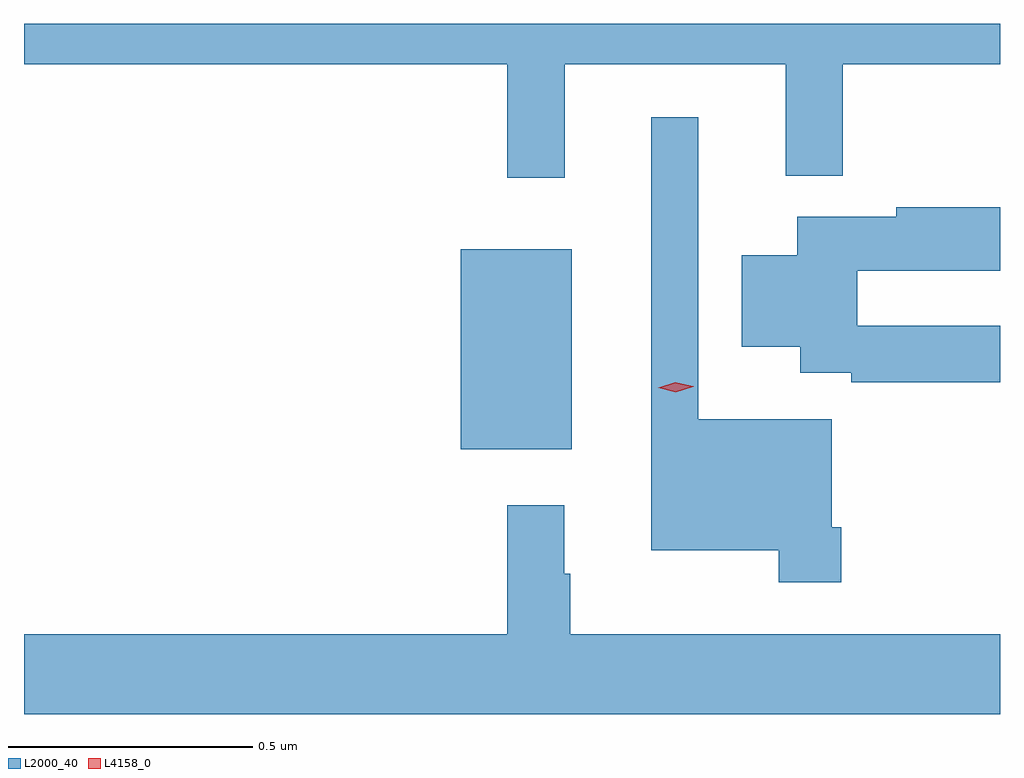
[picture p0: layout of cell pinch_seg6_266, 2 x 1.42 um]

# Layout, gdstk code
import gdstk
lib = gdstk.Library(unit=1e-6, precision=1e-09)
def R(c, l, rs):  # rectangles x0, y0, x1, y1
    for r in rs: c.add(gdstk.rectangle(r[:2], r[2:], *l))
def P(c, l, *ps):  # polygons
    for p in ps: c.add(gdstk.Polygon(p, *l))
L2000_40 = (2000, 40)
L4158_0 = (4158, 0)

pinch_seg6_266 = lib.new_cell('pinch_seg6_266')
R(pinch_seg6_266, L2000_40, [(1090.196,919.907,1090.423,920.317)])
P(pinch_seg6_266, L2000_40, [(1089.301,920.696),(1090.291,920.696),(1090.291,920.463),(1090.409,920.463),(1090.409,920.696),(1090.862,920.696),(1090.862,920.468),(1090.979,920.468),(1090.979,920.696),(1091.301,920.696),(1091.301,920.779),(1089.301,920.779)],
  [(1090.976,919.747),(1090.956,919.747),(1090.956,919.969),(1090.683,919.969),(1090.683,920.587),(1090.586,920.587),(1090.586,919.7),(1090.848,919.7),(1090.848,919.635),(1090.976,919.635)],
  [(1091.301,920.16),(1091.008,920.16),(1091.008,920.273),(1091.301,920.273),(1091.301,920.403),(1091.088,920.403),(1091.088,920.383),(1090.886,920.383),(1090.886,920.305),(1090.772,920.305),(1090.772,920.117),(1090.892,920.117),(1090.892,920.064),(1090.996,920.064),(1090.996,920.044),(1091.301,920.044)],
  [(1091.301,919.528),(1090.42,919.528),(1090.42,919.652),(1090.408,919.652),(1090.408,919.792),(1090.291,919.792),(1090.291,919.528),(1089.301,919.528),(1089.301,919.364),(1091.301,919.364)])
P(pinch_seg6_266, L4158_0, [(1090.637,920.024),(1090.601,920.033),(1090.601,920.033),(1090.601,920.033),(1090.636,920.044),(1090.672,920.036),(1090.673,920.036),(1090.672,920.035)])

lib.write_gds('pinch_seg6_266.gds')
